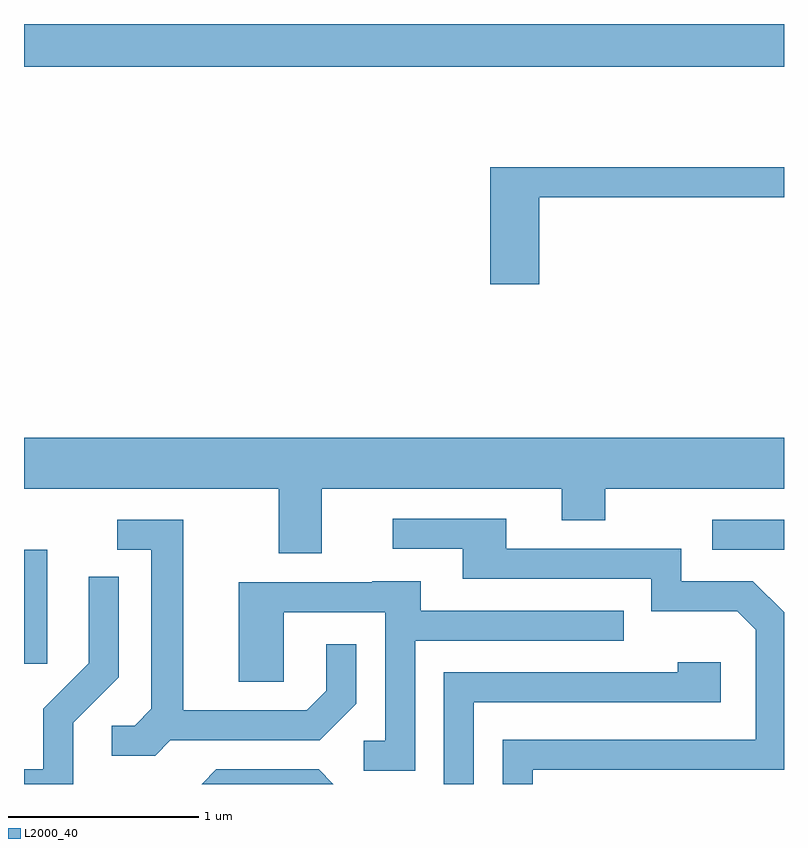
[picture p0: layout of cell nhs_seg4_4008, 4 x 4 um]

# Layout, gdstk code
import gdstk
lib = gdstk.Library(unit=1e-6, precision=1e-09)
def R(c, l, rs):  # rectangles x0, y0, x1, y1
    for r in rs: c.add(gdstk.rectangle(r[:2], r[2:], *l))
def P(c, l, *ps):  # polygons
    for p in ps: c.add(gdstk.Polygon(p, *l))
L2000_40 = (2000, 40)

nhs_seg4_4008 = lib.new_cell('nhs_seg4_4008')
R(nhs_seg4_4008, L2000_40, [(301.611,1382.616,301.734,1383.214), (305.233,1383.216,305.611,1383.374), (301.611,1385.756,305.611,1385.982)])
P(nhs_seg4_4008, L2000_40, [(304.324,1385.071),(305.611,1385.071),(305.611,1385.229),(304.066,1385.229),(304.066,1384.611),(304.324,1384.611)],
  [(303.179,1383.536),(304.441,1383.536),(304.441,1383.371),(304.669,1383.371),(304.669,1383.536),(305.611,1383.536),(305.611,1383.804),(301.611,1383.804),(301.611,1383.536),(302.951,1383.536),(302.951,1383.196),(303.179,1383.196)],
  [(304.289,1382.056),(305.611,1382.056),(305.611,1382.885),(305.447,1383.049),(305.069,1383.049),(305.069,1383.219),(304.149,1383.219),(304.149,1383.379),(303.553,1383.379),(303.553,1383.221),(303.921,1383.221),(303.921,1383.061),(304.911,1383.061),(304.911,1382.891),(305.364,1382.891),(305.461,1382.794),(305.461,1382.214),(304.131,1382.214),(304.131,1381.982),(304.289,1381.982)],
  [(302.382,1382.211),(303.167,1382.211),(303.359,1382.404),(303.359,1382.718),(303.201,1382.718),(303.201,1382.472),(303.099,1382.369),(302.449,1382.369),(302.449,1383.374),(302.103,1383.374),(302.103,1383.216),(302.281,1383.216),(302.281,1382.377),(302.194,1382.289),(302.073,1382.289),(302.073,1382.131),(302.302,1382.131)],
  [(301.869,1382.304),(302.109,1382.544),(302.109,1383.073),(301.951,1383.073),(301.951,1382.617),(301.711,1382.377),(301.711,1382.059),(301.611,1382.059),(301.611,1381.982),(301.869,1381.982)],
  [(303.669,1382.736),(304.768,1382.736),(304.768,1382.894),(303.699,1382.894),(303.699,1383.049),(303.445,1383.049),(303.445,1383.044),(302.741,1383.044),(302.741,1382.521),(302.979,1382.521),(302.979,1382.886),(303.511,1382.886),(303.511,1382.209),(303.398,1382.209),(303.398,1382.051),(303.669,1382.051)],
  [(303.979,1382.411),(305.279,1382.411),(305.279,1382.624),(305.051,1382.624),(305.051,1382.569),(303.821,1382.569),(303.821,1381.982),(303.979,1381.982)],
  [(303.162,1382.059),(302.624,1382.059),(302.547,1381.982),(303.239,1381.982)])

lib.write_gds('nhs_seg4_4008.gds')
